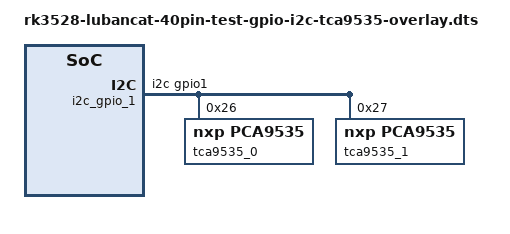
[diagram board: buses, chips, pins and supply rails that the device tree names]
/dts-v1/;
/plugin/;

#include <dt-bindings/gpio/gpio.h>
#include <dt-bindings/pinctrl/rockchip.h>
#include <dt-bindings/interrupt-controller/irq.h>

/ {
	fragment@0 {
		target-path = "/";

		__overlay__ {
			i2c_gpio_1: i2c-gpio-1 {
				compatible = "i2c-gpio";
				gpios = <&gpio3 RK_PC3 GPIO_ACTIVE_HIGH /* sda */
					    &gpio3 RK_PC1 GPIO_ACTIVE_HIGH >; /* scl */
				i2c-gpio,delay-us = <2>;	/* ~100 kHz */
				#address-cells = <1>;
				#size-cells = <0>;
				pinctrl-names = "default";
				pinctrl-0 = <&i2c_gpio1>;
				status = "okay";

				tca9535_0: tca9535-0@26 {
					compatible = "nxp,pca9535";
					reg = <0x26>;
					gpio-controller;
					#gpio-cells = <2>;
				};

				tca9535_1: tca9535-1@27 {
					compatible = "nxp,pca9535";
					reg = <0x27>;
					gpio-controller;
					#gpio-cells = <2>;
				};
			};
		};
	};

	fragment@1 {
		target = <&pinctrl>;
		__overlay__ {
		i2c-gpio {
			i2c_gpio1:i2c-gpio1{
				rockchip,pins =
					<3 RK_PC3 RK_FUNC_GPIO &pcfg_pull_none_smt>,
					<3 RK_PC1 RK_FUNC_GPIO &pcfg_pull_none_smt>;
				};
			};
		};
	};
};
